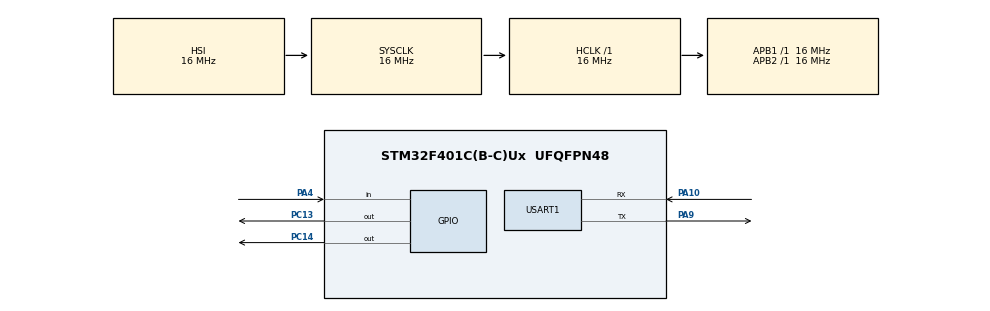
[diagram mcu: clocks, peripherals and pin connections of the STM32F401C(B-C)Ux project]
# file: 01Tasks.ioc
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Mcu.Family=STM32F4
Mcu.Name=STM32F401C(B-C)Ux
Mcu.Package=UFQFPN48
NVIC.PriorityGroup=NVIC_PRIORITYGROUP_4
NVIC.TIM5_IRQn=true\:15\:0\:false\:false\:true\:false\:true\:true
NVIC.TimeBase=TIM5_IRQn
NVIC.TimeBaseIP=TIM5
PA10.Mode=Asynchronous
PA10.Signal=USART1_RX
PA4.Signal=GPIO_Input
PA9.Mode=Asynchronous
PA9.Signal=USART1_TX
PC13-ANTI_TAMP.Signal=GPIO_Output
PC14-OSC32_IN.Signal=GPIO_Output
ProjectManager.HeapSize=0x100
ProjectManager.StackSize=0x200
ProjectManager.TargetToolchain=STM32CubeIDE
RCC.AHBFreq_Value=16000000
RCC.APB1Freq_Value=16000000
RCC.APB1TimFreq_Value=16000000
RCC.APB2Freq_Value=16000000
RCC.APB2TimFreq_Value=16000000
RCC.CortexFreq_Value=16000000
RCC.HCLKFreq_Value=16000000
RCC.HSE_VALUE=25000000
RCC.HSI_VALUE=16000000
RCC.LSE_VALUE=32768
RCC.SYSCLKFreq_VALUE=16000000
RCC.VCOOutputFreq_Value=192000000
USART1.VirtualMode=VM_ASYNC
VP_SYS_VS_tim5.Mode=TIM5
board=custom

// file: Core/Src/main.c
/* USER CODE BEGIN Header */
/**
  *******************************************************************************
  * @file           : main.c
  * @brief          : Main program body
  *******************************************************************************
  * @attention
  *
  * Copyright (c) 2024 STMicroelectronics.
  * All rights reserved.
  *
  * This software is licensed under terms that can be found in the LICENSE file
  * in the root directory of this software component.
  * If no LICENSE file comes with this software, it is provided AS-IS.
  *
  *******************************************************************************
  */
/* USER CODE END Header */
#include "main.h"

/* USER CODE BEGIN Includes */
#include "stdio.h"
#include "FreeRTOS.h"
#include "task.h"
#include "semphr.h"
/* USER CODE END Includes */

/* USER CODE BEGIN PD */
#define TASK_STACK_SIZE 128  // Reduced stack size for tasks
#define TASK1_PRIORITY 1
#define TASK2_PRIORITY 1
#define MUTEX_PRIORITY 3
/* USER CODE END PD */

UART_HandleTypeDef huart1;

/* USER CODE BEGIN PV */
static SemaphoreHandle_t led_mutex; // Mutex for LED access
/* USER CODE END PV */

void SystemClock_Config(void);
static void MX_GPIO_Init(void);
static void MX_USART1_UART_Init(void);
/* USER CODE BEGIN PFP */
static void task1_handler(void* parameters);
static void task2_handler(void* parameters);
uint8_t tx_buffer_task1[] = "T-1\n\r";
uint8_t tx_buffer_task2[] = "T-2\n\r";
uint8_t tx_buffer_on[] = "ON!!\n";
uint8_t tx_buffer_off[] = "OFF!\n";
/* USER CODE END PFP */

int main(void)
{

  /* USER CODE BEGIN 1 */
  TaskHandle_t task1_handle;
  TaskHandle_t task2_handle;
  BaseType_t status;
  /* USER CODE END 1 */

  /* MCU Configuration--------------------------------------------------------*/

  /* Reset of all peripherals, Initializes the Flash interface and the Systick. */
  HAL_Init();

  /* Configure the system clock */
  SystemClock_Config();

  /* Initialize all configured peripherals */
  MX_GPIO_Init();
  MX_USART1_UART_Init();
  /* USER CODE BEGIN 2 */
  // Create the mutex for LED access
  led_mutex = xSemaphoreCreateMutex();
  configASSERT(led_mutex != NULL);
  TickType_t uxPeriod = 100;
  // Create tasks
  status = xTaskCreate(task1_handler,"task 1",configMINIMAL_STACK_SIZE,"hello world from task1",1,&task1_handle);
  configASSERT(status==pdPASS);

  status = xTaskCreate(task2_handler,"task 2",configMINIMAL_STACK_SIZE,"hello world from task2",1,&task2_handle);
  configASSERT(status==pdPASS);

//  status = xTaskCreate(task2_handler,"task 3",configMINIMAL_STACK_SIZE,"hello world from task",1,&task2_handle);
//  configASSERT(status==pdPASS);
//
//
//  status = xTaskCreate(task2_handler,"task 4",configMINIMAL_STACK_SIZE,"hello world from task2",1,&task2_handle);
//   configASSERT(status==pdPASS);
//
  vTaskSetPeriod(task1_handle, 100); // Set period for task 1
  vTaskSetPeriod(task2_handle, 150); // Set period for task 2

  // Start the FreeRTOS scheduler
  vTaskStartScheduler();

  /* USER CODE END 2 */

  /* Infinite loop */
  while (1)
  {

  }
}

void SystemClock_Config(void)
{
  RCC_OscInitTypeDef RCC_OscInitStruct = {0};
  RCC_ClkInitTypeDef RCC_ClkInitStruct = {0};

  /** Configure the main internal regulator output voltage
  */
  __HAL_RCC_PWR_CLK_ENABLE();
  __HAL_PWR_VOLTAGESCALING_CONFIG(PWR_REGULATOR_VOLTAGE_SCALE2);

  /** Initializes the RCC Oscillators according to the specified parameters
  * in the RCC_OscInitTypeDef structure.
  */
  RCC_OscInitStruct.OscillatorType = RCC_OSCILLATORTYPE_HSI;
  RCC_OscInitStruct.HSIState = RCC_HSI_ON;
  RCC_OscInitStruct.HSICalibrationValue = RCC_HSICALIBRATION_DEFAULT;
  RCC_OscInitStruct.PLL.PLLState = RCC_PLL_NONE;
  if (HAL_RCC_OscConfig(&RCC_OscInitStruct) != HAL_OK)
  {
    Error_Handler();
  }

  /** Initializes the CPU, AHB and APB buses clocks
  */
  RCC_ClkInitStruct.ClockType = RCC_CLOCKTYPE_HCLK|RCC_CLOCKTYPE_SYSCLK
                              |RCC_CLOCKTYPE_PCLK1|RCC_CLOCKTYPE_PCLK2;
  RCC_ClkInitStruct.SYSCLKSource = RCC_SYSCLKSOURCE_HSI;
  RCC_ClkInitStruct.AHBCLKDivider = RCC_SYSCLK_DIV1;
  RCC_ClkInitStruct.APB1CLKDivider = RCC_HCLK_DIV1;
  RCC_ClkInitStruct.APB2CLKDivider = RCC_HCLK_DIV1;

  if (HAL_RCC_ClockConfig(&RCC_ClkInitStruct, FLASH_LATENCY_0) != HAL_OK)
  {
    Error_Handler();
  }
}

static void MX_USART1_UART_Init(void)
{

  huart1.Instance = USART1;
  huart1.Init.BaudRate = 115200;
  huart1.Init.WordLength = UART_WORDLENGTH_8B;
  huart1.Init.StopBits = UART_STOPBITS_1;
  huart1.Init.Parity = UART_PARITY_NONE;
  huart1.Init.Mode = UART_MODE_TX_RX;
  huart1.Init.HwFlowCtl = UART_HWCONTROL_NONE;
  huart1.Init.OverSampling = UART_OVERSAMPLING_16;
  if (HAL_UART_Init(&huart1) != HAL_OK)
  {
    Error_Handler();
  }

}

static void MX_GPIO_Init(void)
{
  GPIO_InitTypeDef GPIO_InitStruct = {0};

  /* GPIO Ports Clock Enable */
  __HAL_RCC_GPIOC_CLK_ENABLE();
  __HAL_RCC_GPIOA_CLK_ENABLE();

  /*Configure GPIO pin Output Level */
  HAL_GPIO_WritePin(GPIOC, GPIO_PIN_13|GPIO_PIN_14, GPIO_PIN_RESET);

  /*Configure GPIO pins : PC13 PC14 */
  GPIO_InitStruct.Pin = GPIO_PIN_13|GPIO_PIN_14;
  GPIO_InitStruct.Mode = GPIO_MODE_OUTPUT_PP;
  GPIO_InitStruct.Pull = GPIO_NOPULL;
  GPIO_InitStruct.Speed = GPIO_SPEED_FREQ_LOW;
  HAL_GPIO_Init(GPIOC, &GPIO_InitStruct);

  /*Configure GPIO pin : PA4 */
  GPIO_InitStruct.Pin = GPIO_PIN_4;
  GPIO_InitStruct.Mode = GPIO_MODE_INPUT;
  GPIO_InitStruct.Pull = GPIO_NOPULL;
  HAL_GPIO_Init(GPIOA, &GPIO_InitStruct);

}

/* USER CODE BEGIN 4 */
static void task1_handler(void* parameters){
    while(1){
        printf("%s\n", (char*)parameters);

        // Attempt to take the mutex for the LED
        if (xSemaphoreTake(led_mutex, portMAX_DELAY) == pdTRUE) {
            // Control the LED pin
        	vTaskPrioritySet(NULL, MUTEX_PRIORITY);
            HAL_GPIO_WritePin(GPIOC, GPIO_PIN_13, GPIO_PIN_RESET); // Turn LED on
            HAL_UART_Transmit(&huart1, tx_buffer_task1, 5, 10);

            // Keep the LED on for a specific duration based on the IR sensor
            GPIO_PinState ir_sensor_value = HAL_GPIO_ReadPin(GPIOA, GPIO_PIN_4);
            if(ir_sensor_value == GPIO_PIN_SET) {
                HAL_Delay(2000); // Longer delay if sensor is triggered
            } else {
                HAL_Delay(1000); // Shorter delay otherwise
            }

            // Turn LED off
//            HAL_GPIO_WritePin(GPIOC, GPIO_PIN_13, GPIO_PIN_SET); // Turn LED off
            vTaskPrioritySet(NULL, TASK1_PRIORITY);
            xSemaphoreGive(led_mutex); // Release the mutex
        }
        taskYIELD(); // Yield to allow other tasks to run
    }
}

static void task2_handler(void* parameters){
    while(1){
        printf("%s\n", (char*)parameters);

        // Attempt to take the mutex for the LED
        if (xSemaphoreTake(led_mutex, portMAX_DELAY) == pdTRUE) {
            // Control the LED pin
        	vTaskPrioritySet(NULL, MUTEX_PRIORITY);
            HAL_GPIO_WritePin(GPIOC, GPIO_PIN_13, GPIO_PIN_SET); // Turn another LED on
            HAL_UART_Transmit(&huart1, tx_buffer_task2, 5, 10);

            // Keep the LED on for a specific duration based on the IR sensor
            GPIO_PinState ir_sensor_value = HAL_GPIO_ReadPin(GPIOA, GPIO_PIN_4);
            if(ir_sensor_value == GPIO_PIN_SET) {
                HAL_Delay(2000); // Longer delay if sensor is triggered
            } else {
                HAL_Delay(1000); // Shorter delay otherwise
            }

            // Turn LED off
//            HAL_GPIO_WritePin(GPIOC, GPIO_PIN_14, GPIO_PIN_SET); // Turn LED off
            vTaskPrioritySet(NULL, TASK2_PRIORITY);
            xSemaphoreGive(led_mutex); // Release the mutex
        }
        taskYIELD(); // Yield to allow other tasks to run
    }
}
/* USER CODE END 4 */

void HAL_TIM_PeriodElapsedCallback(TIM_HandleTypeDef *htim)
{
  if (htim->Instance == TIM5) {
    HAL_IncTick();
  }
}

void Error_Handler(void)
{
  __disable_irq();
  while (1)
  {
  }
}
